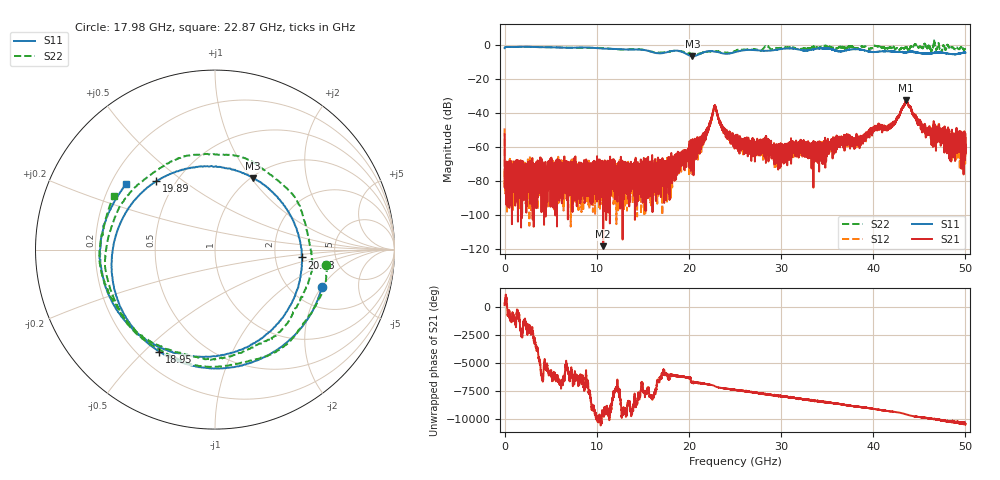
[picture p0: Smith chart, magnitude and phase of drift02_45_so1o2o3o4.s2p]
!Created with skrf (http://scikit-rf.org).
# Hz S RI R 50.0
!freq ReS11 ImS11 ReS21 ImS21 ReS12 ImS12 ReS22 ImS22
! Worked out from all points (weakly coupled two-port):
!   10001 points, 300 kHz to 50 GHz, reference 50 ohm
!   highest |S21| = -32.67 dB at 43.59 GHz (marker M1); lowest = -118.2 dB at 10.7 GHz (marker M2)
!   lowest |S11| = -6.9 dB at 20.38 GHz (marker M3), VSWR 2.64, Z = 51.3 + j51.1 ohm
!   |S11| at or under -10 dB: nowhere
!   |S22| runs from -5.7 to 2.4 dB; largest |S21 - S12| = 0.0041
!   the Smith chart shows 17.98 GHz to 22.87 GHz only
!   S11 on the Smith chart (normalised r, x): 17.98 GHz: 2.88, -2.02; 18.95 GHz: 0.28, -0.56; 19.89 GHz: 0.39, +0.40; 20.88 GHz: 2.84, -0.33; 22.87 GHz: 0.26, +0.31
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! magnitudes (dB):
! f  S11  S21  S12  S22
! 300 kHz  -2.1  -52.7  -49.2  -2.1
! 260.3 MHz  -1.4  -82.4  -74.3  -1.4
! 8.335 GHz  -1.7  -69.9  -73.3  -1.9
! 10.7 GHz  -2.4  -118.2  -75.4  -2.1
! 16.67 GHz  -5.2  -69.0  -79.6  -4.7
! 17.98 GHz  -4.0  -80.2  -69.6  -4.1
! 18.95 GHz  -3.8  -68.0  -66.4  -3.9
! 19.89 GHz  -6.0  -61.6  -64.5  -5.1
! 20.38 GHz  -6.9  -58.7  -64.1  -5.4
! 20.88 GHz  -6.3  -56.7  -63.2  -5.6
! 21.87 GHz  -4.1  -49.9  -52.2  -4.3
! 22.87 GHz  -4.2  -36.3  -36.4  -3.9
! 23.75 GHz  -5.3  -50.4  -49.7  -4.6
! 25 GHz  -4.5  -54.6  -57.1  -3.9
! 29.66 GHz  -2.9  -61.7  -62.7  -2.1
! 33.34 GHz  -3.0  -64.9  -61.2  -1.6
! 38.06 GHz  -2.8  -57.7  -56.9  -2.2
! 40.36 GHz  -4.3  -48.3  -48.8  -0.9
! 41.67 GHz  -4.0  -48.3  -47.3  -1.9
! 43.59 GHz  -4.5  -32.7  -33.3  -1.6
! 45.67 GHz  -5.4  -51.3  -48.9  -0.3
! 50 GHz  -4.7  -58.8  -58.3  -2.7
